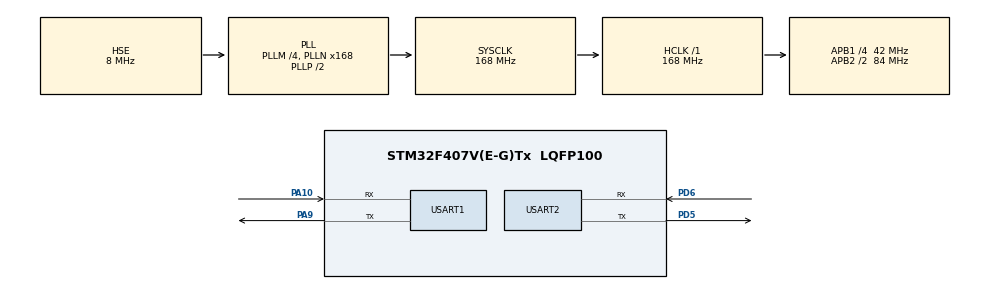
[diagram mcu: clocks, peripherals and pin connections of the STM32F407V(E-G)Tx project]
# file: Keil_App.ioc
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Dma.Request0=USART2_RX
Dma.Request1=USART2_TX
Dma.USART2_RX.0.Direction=DMA_PERIPH_TO_MEMORY
Dma.USART2_RX.0.FIFOMode=DMA_FIFOMODE_DISABLE
Dma.USART2_RX.0.Instance=DMA1_Stream5
Dma.USART2_RX.0.MemDataAlignment=DMA_MDATAALIGN_BYTE
Dma.USART2_RX.0.MemInc=DMA_MINC_ENABLE
Dma.USART2_RX.0.Mode=DMA_NORMAL
Dma.USART2_RX.0.PeriphDataAlignment=DMA_PDATAALIGN_BYTE
Dma.USART2_RX.0.PeriphInc=DMA_PINC_DISABLE
Dma.USART2_RX.0.Priority=DMA_PRIORITY_HIGH
Dma.USART2_TX.1.Direction=DMA_MEMORY_TO_PERIPH
Dma.USART2_TX.1.FIFOMode=DMA_FIFOMODE_DISABLE
Dma.USART2_TX.1.Instance=DMA1_Stream6
Dma.USART2_TX.1.MemDataAlignment=DMA_MDATAALIGN_BYTE
Dma.USART2_TX.1.MemInc=DMA_MINC_ENABLE
Dma.USART2_TX.1.Mode=DMA_NORMAL
Dma.USART2_TX.1.PeriphDataAlignment=DMA_PDATAALIGN_BYTE
Dma.USART2_TX.1.PeriphInc=DMA_PINC_DISABLE
Dma.USART2_TX.1.Priority=DMA_PRIORITY_HIGH
Mcu.Family=STM32F4
Mcu.Name=STM32F407V(E-G)Tx
Mcu.Package=LQFP100
NVIC.DMA1_Stream5_IRQn=true\:0\:0\:false\:false\:true\:true\:true\:true
NVIC.DMA1_Stream6_IRQn=true\:0\:0\:false\:false\:true\:true\:true\:true
NVIC.PriorityGroup=NVIC_PRIORITYGROUP_4
NVIC.USART1_IRQn=true\:0\:0\:false\:false\:true\:true\:true\:true
NVIC.USART2_IRQn=true\:1\:0\:false\:false\:true\:true\:true\:true
PA10.Mode=Asynchronous
PA10.Signal=USART1_RX
PA13.Mode=Serial_Wire
PA13.Signal=SYS_JTMS-SWDIO
PA14.Mode=Serial_Wire
PA14.Signal=SYS_JTCK-SWCLK
PA9.Mode=Asynchronous
PA9.Signal=USART1_TX
PD5.Mode=Asynchronous
PD5.Signal=USART2_TX
PD6.Mode=Asynchronous
PD6.Signal=USART2_RX
PH0-OSC_IN.Mode=HSE-External-Oscillator
PH0-OSC_IN.Signal=RCC_OSC_IN
PH1-OSC_OUT.Mode=HSE-External-Oscillator
PH1-OSC_OUT.Signal=RCC_OSC_OUT
ProjectManager.HeapSize=0x200
ProjectManager.StackSize=0x400
ProjectManager.TargetToolchain=MDK-ARM V5.32
RCC.48MHZClocksFreq_Value=84000000
RCC.AHBFreq_Value=168000000
RCC.APB1CLKDivider=RCC_HCLK_DIV4
RCC.APB1Freq_Value=42000000
RCC.APB1TimFreq_Value=84000000
RCC.APB2CLKDivider=RCC_HCLK_DIV2
RCC.APB2Freq_Value=84000000
RCC.APB2TimFreq_Value=168000000
RCC.CortexFreq_Value=168000000
RCC.HCLKFreq_Value=168000000
RCC.HSE_VALUE=8000000
RCC.HSI_VALUE=16000000
RCC.LSE_VALUE=32768
RCC.PLLM=4
RCC.PLLN=168
RCC.PLLSourceVirtual=RCC_PLLSOURCE_HSE
RCC.SYSCLKFreq_VALUE=168000000
RCC.SYSCLKSource=RCC_SYSCLKSOURCE_PLLCLK
RCC.VCOOutputFreq_Value=336000000
TIM2.Period=168-1
TIM2.Prescaler=1000-1
USART1.VirtualMode=VM_ASYNC
USART2.VirtualMode=VM_ASYNC
VP_TIM2_VS_ClockSourceINT.Mode=Internal
board=custom

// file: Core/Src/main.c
/* USER CODE BEGIN Header */
/**
  ******************************************************************************
  * @file           : main.c
  * @brief          : Main program body
  ******************************************************************************
  * @attention
  *
  * Copyright (c) 2026 STMicroelectronics.
  * All rights reserved.
  *
  * This software is licensed under terms that can be found in the LICENSE file
  * in the root directory of this software component.
  * If no LICENSE file comes with this software, it is provided AS-IS.
  *
  ******************************************************************************
  */
/* USER CODE END Header */
#include "main.h"
#include "dma.h"
#include "tim.h"
#include "usart.h"
#include "gpio.h"

/* USER CODE BEGIN Includes */
#include "app_boot_client.h"
#include "app_cli.h"
#include "app_ota_service.h"
#include "app_transport.h"
/* USER CODE END Includes */

void SystemClock_Config(void);

int main(void)
{

  /* MCU Configuration--------------------------------------------------------*/

  /* Reset of all peripherals, Initializes the Flash interface and the Systick. */
  HAL_Init();

  /* Configure the system clock */
  SystemClock_Config();

  /* Initialize all configured peripherals */
  MX_GPIO_Init();
  MX_DMA_Init();
  MX_TIM2_Init();
  MX_USART1_UART_Init();
  MX_USART2_UART_Init();
  /* USER CODE BEGIN 2 */
  /* 向量表必须最早重定位：从此以后每一次中断（含 SysTick）都走 App 自己的表。
     地址与 Boot 跳转时写入的 SCB->VTOR 一致，都是槽首 + 镜像头偏移。 */
  app_boot_client_init();

  /* 串口起不来不致命：业务照常跑，只是少了命令行与升级入口。 */
  app_transport_init();

  /* 启动自检通过点：能走到这里说明时钟、GPIO、串口与命令行都已就绪，
     任何一步失败都会停在 Error_Handler。本次若是 Boot 的试运行启动，就地确认
     并复位，让 Boot 把 Pending 转正后以普通启动再跑一遍；否则新固件要靠 PC
     手工发 `ota confirm`，漏一次就消耗一次试运行机会，三次用完即回滚。

     确认必须配合复位：只写邮箱不复位的话，中途掉电会把 SRAM2 里的
     confirmation 一起丢掉，而 Boot 侧试运行次数已经加过了，反复上电就可能
     在镜像完全正常的情况下被误判回滚。 */
  if (app_boot_client_is_pending())
  {
    app_transport_deinit();
    app_boot_client_confirm_and_reset();
  }
  /* USER CODE END 2 */

  /* Infinite loop */
  while (1)
  {

    /* USER CODE BEGIN 3 */
    if (app_ota_service_is_active())
    {
      /* 会话期间不喂命令行：YMODEM 的二进制流会把行缓冲冲乱（与 Boot 侧同规则）。 */
      app_ota_result_t result = app_ota_service_run();

      if (result != APP_OTA_BUSY)
      {
        app_cli_report_ota(result);

        if (result == APP_OTA_DONE)
        {
          /* NVS 请求已落盘，干净复位让 Boot 的 NVS 处理与启动决策重走一遍。
             这里刻意不用 app_boot_client_request_boot()：那会置位邮箱的 REQB，
             Boot 会因此停在升级模式，而不是去启动刚收到的 pending 镜像。 */
          app_transport_deinit();
          NVIC_SystemReset();
        }
      }
    }
    else
    {
      app_cli_poll();
      app_boot_client_heartbeat();
    }
  }
  /* USER CODE END 3 */
}

void SystemClock_Config(void)
{
  RCC_OscInitTypeDef RCC_OscInitStruct = {0};
  RCC_ClkInitTypeDef RCC_ClkInitStruct = {0};

  /** Configure the main internal regulator output voltage
  */
  __HAL_RCC_PWR_CLK_ENABLE();
  __HAL_PWR_VOLTAGESCALING_CONFIG(PWR_REGULATOR_VOLTAGE_SCALE1);

  /** Initializes the RCC Oscillators according to the specified parameters
  * in the RCC_OscInitTypeDef structure.
  */
  RCC_OscInitStruct.OscillatorType = RCC_OSCILLATORTYPE_HSE;
  RCC_OscInitStruct.HSEState = RCC_HSE_ON;
  RCC_OscInitStruct.PLL.PLLState = RCC_PLL_ON;
  RCC_OscInitStruct.PLL.PLLSource = RCC_PLLSOURCE_HSE;
  RCC_OscInitStruct.PLL.PLLM = 4;
  RCC_OscInitStruct.PLL.PLLN = 168;
  RCC_OscInitStruct.PLL.PLLP = RCC_PLLP_DIV2;
  RCC_OscInitStruct.PLL.PLLQ = 4;
  if (HAL_RCC_OscConfig(&RCC_OscInitStruct) != HAL_OK)
  {
    Error_Handler();
  }

  /** Initializes the CPU, AHB and APB buses clocks
  */
  RCC_ClkInitStruct.ClockType = RCC_CLOCKTYPE_HCLK|RCC_CLOCKTYPE_SYSCLK
                              |RCC_CLOCKTYPE_PCLK1|RCC_CLOCKTYPE_PCLK2;
  RCC_ClkInitStruct.SYSCLKSource = RCC_SYSCLKSOURCE_PLLCLK;
  RCC_ClkInitStruct.AHBCLKDivider = RCC_SYSCLK_DIV1;
  RCC_ClkInitStruct.APB1CLKDivider = RCC_HCLK_DIV4;
  RCC_ClkInitStruct.APB2CLKDivider = RCC_HCLK_DIV2;

  if (HAL_RCC_ClockConfig(&RCC_ClkInitStruct, FLASH_LATENCY_5) != HAL_OK)
  {
    Error_Handler();
  }
}

void Error_Handler(void)
{
  __disable_irq();
  while (1)
  {
  }
}
